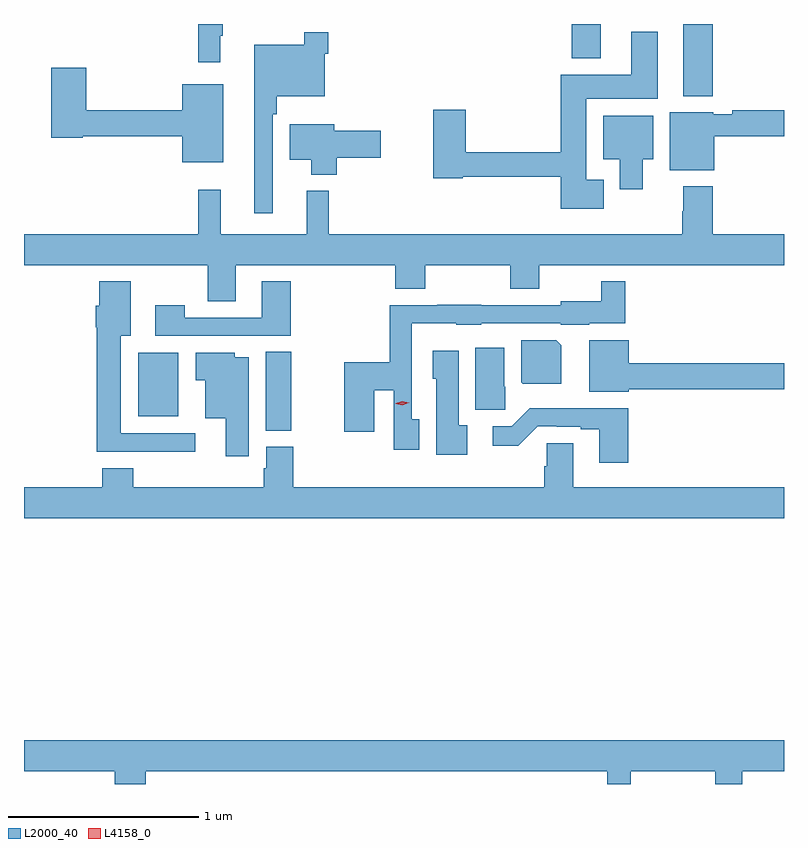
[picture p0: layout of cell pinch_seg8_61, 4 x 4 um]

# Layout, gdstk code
import gdstk
lib = gdstk.Library(unit=1e-6, precision=1e-09)
def R(c, l, rs):  # rectangles x0, y0, x1, y1
    for r in rs: c.add(gdstk.rectangle(r[:2], r[2:], *l))
def P(c, l, *ps):  # polygons
    for p in ps: c.add(gdstk.Polygon(p, *l))
L2000_40 = (2000, 40)
L4158_0 = (4158, 0)

pinch_seg8_61 = lib.new_cell('pinch_seg8_61')
R(pinch_seg8_61, L2000_40, [(913.268,1100.977,913.402,1101.392), (912.596,1101.053,912.808,1101.388), (915.467,1102.739,915.62,1103.118), (914.879,1102.937,915.031,1103.118)])
P(pinch_seg8_61, L2000_40, [(913.03,1103.057),(913.042,1103.057),(913.042,1103.118),(912.913,1103.118),(912.913,1102.917),(913.03,1102.917)],
  [(915.046,1102.297),(914.956,1102.297),(914.956,1102.724),(915.331,1102.724),(915.331,1103.077),(915.191,1103.077),(915.191,1102.852),(914.822,1102.852),(914.822,1102.442),(914.321,1102.442),(914.321,1102.666),(914.15,1102.666),(914.15,1102.306),(914.304,1102.306),(914.304,1102.314),(914.822,1102.314),(914.822,1102.145),(915.046,1102.145)],
  [(913.305,1102.643),(913.325,1102.643),(913.325,1102.739),(913.578,1102.739),(913.578,1102.961),(913.598,1102.961),(913.598,1103.074),(913.47,1103.074),(913.47,1103.008),(913.208,1103.008),(913.208,1102.122),(913.305,1102.122)],
  [(913.045,1102.801),(912.83,1102.801),(912.83,1102.664),(912.323,1102.664),(912.323,1102.888),(912.14,1102.888),(912.14,1102.52),(912.306,1102.52),(912.306,1102.528),(912.83,1102.528),(912.83,1102.391),(913.045,1102.391)],
  [(915.628,1102.528),(915.996,1102.528),(915.996,1102.664),(915.724,1102.664),(915.724,1102.644),(915.624,1102.644),(915.624,1102.654),(915.395,1102.654),(915.395,1102.349),(915.628,1102.349)],
  [(915.253,1102.406),(915.307,1102.406),(915.307,1102.636),(915.044,1102.636),(915.044,1102.406),(915.131,1102.406),(915.131,1102.248),(915.253,1102.248)],
  [(913.643,1102.414),(913.873,1102.414),(913.873,1102.556),(913.63,1102.556),(913.63,1102.591),(913.394,1102.591),(913.394,1102.403),(913.508,1102.403),(913.508,1102.325),(913.643,1102.325)],
  [(913.111,1101.848),(913.949,1101.848),(913.949,1101.724),(914.109,1101.724),(914.109,1101.848),(914.554,1101.848),(914.554,1101.724),(914.709,1101.724),(914.709,1101.848),(915.996,1101.848),(915.996,1102.012),(915.62,1102.012),(915.62,1102.264),(915.467,1102.264),(915.467,1102.133),(915.46,1102.133),(915.46,1102.012),(913.601,1102.012),(913.601,1102.24),(913.484,1102.24),(913.484,1102.012),(913.031,1102.012),(913.031,1102.246),(912.913,1102.246),(912.913,1102.012),(911.996,1102.012),(911.996,1101.848),(912.964,1101.848),(912.964,1101.658),(913.111,1101.658)],
  [(912.898,1100.964),(912.505,1100.964),(912.505,1101.476),(912.559,1101.476),(912.559,1101.763),(912.392,1101.763),(912.392,1101.636),(912.374,1101.636),(912.374,1101.522),(912.38,1101.522),(912.38,1100.867),(912.898,1100.867)],
  [(914.077,1101.038),(914.037,1101.038),(914.037,1101.542),(914.271,1101.542),(914.271,1101.536),(914.403,1101.536),(914.403,1101.543),(914.82,1101.543),(914.82,1101.536),(914.97,1101.536),(914.97,1101.542),(915.161,1101.542),(915.161,1101.763),(915.033,1101.763),(915.033,1101.658),(914.82,1101.658),(914.82,1101.639),(914.403,1101.639),(914.403,1101.641),(914.171,1101.641),(914.171,1101.639),(913.921,1101.639),(913.921,1101.338),(913.682,1101.338),(913.682,1100.973),(913.84,1100.973),(913.84,1101.191),(913.941,1101.191),(913.941,1100.877),(914.077,1100.877)],
  [(913.4,1101.763),(913.247,1101.763),(913.247,1101.573),(912.843,1101.573),(912.843,1101.637),(912.687,1101.637),(912.687,1101.477),(913.4,1101.477)],
  [(915.178,1101.196),(915.996,1101.196),(915.996,1101.332),(915.178,1101.332),(915.178,1101.454),(914.972,1101.454),(914.972,1101.182),(915.178,1101.182)],
  [(914.824,1101.428),(914.798,1101.454),(914.612,1101.454),(914.612,1101.232),(914.62,1101.224),(914.824,1101.224)],
  [(914.528,1101.21),(914.524,1101.21),(914.524,1101.415),(914.372,1101.415),(914.372,1101.087),(914.528,1101.087)],
  [(914.329,1101.006),(914.284,1101.006),(914.284,1101.397),(914.147,1101.397),(914.147,1101.252),(914.165,1101.252),(914.165,1100.852),(914.329,1100.852)],
  [(913.18,1101.364),(913.104,1101.364),(913.104,1101.388),(912.899,1101.388),(912.899,1101.242),(912.95,1101.242),(912.95,1101.044),(913.058,1101.044),(913.058,1100.844),(913.18,1100.844)],
  [(915.176,1101.095),(914.657,1101.095),(914.562,1101),(914.463,1101),(914.463,1100.898),(914.598,1100.898),(914.7,1101),(914.8,1101),(914.8,1100.997),(914.927,1100.997),(914.927,1100.985),(915.023,1100.985),(915.023,1100.808),(915.176,1100.808)],
  [(915.996,1100.68),(914.887,1100.68),(914.887,1100.912),(914.748,1100.912),(914.748,1100.79),(914.735,1100.79),(914.735,1100.68),(913.412,1100.68),(913.412,1100.892),(913.271,1100.892),(913.271,1100.781),(913.259,1100.781),(913.259,1100.68),(912.572,1100.68),(912.572,1100.779),(912.407,1100.779),(912.407,1100.68),(911.996,1100.68),(911.996,1100.516),(915.996,1100.516)],
  [(912.638,1099.184),(915.065,1099.184),(915.065,1099.118),(915.19,1099.118),(915.19,1099.184),(915.635,1099.184),(915.635,1099.118),(915.775,1099.118),(915.775,1099.184),(915.996,1099.184),(915.996,1099.348),(911.996,1099.348),(911.996,1099.184),(912.473,1099.184),(912.473,1099.118),(912.638,1099.118)])
P(pinch_seg8_61, L4158_0, [(913.988,1101.112),(913.953,1101.12),(913.953,1101.121),(913.953,1101.121),(913.987,1101.132),(914.022,1101.124),(914.023,1101.124),(914.022,1101.124)])

lib.write_gds('pinch_seg8_61.gds')
